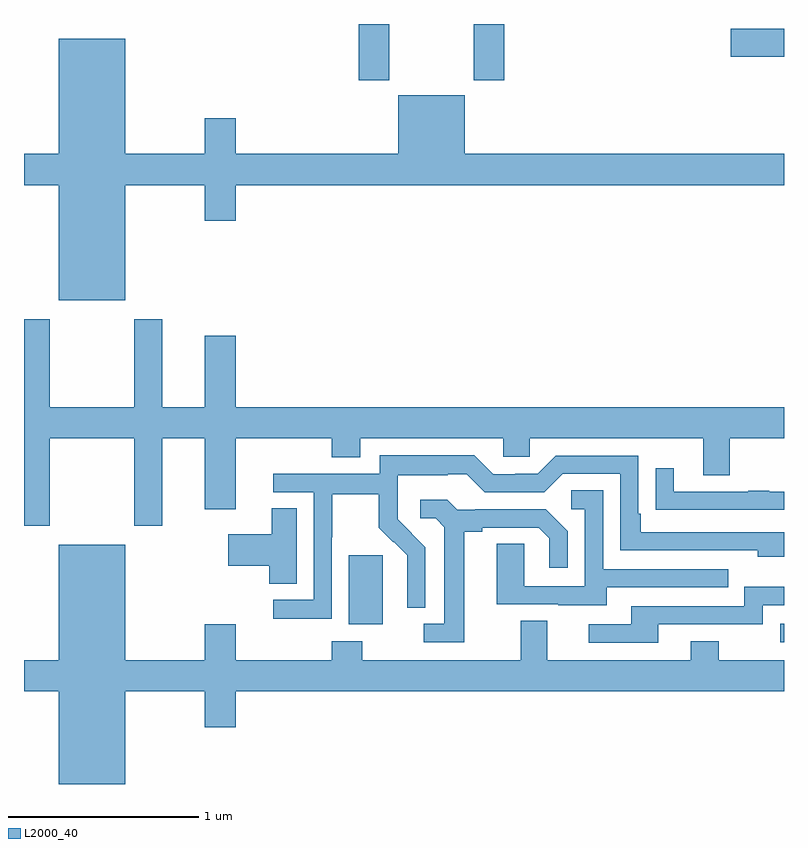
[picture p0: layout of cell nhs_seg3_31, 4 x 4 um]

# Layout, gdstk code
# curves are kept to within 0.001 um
import gdstk
lib = gdstk.Library(unit=1e-6, precision=1e-09)
def R(c, l, rs):  # rectangles x0, y0, x1, y1
    for r in rs: c.add(gdstk.rectangle(r[:2], r[2:], *l))
def P(c, l, *ps):  # polygons
    for p in ps: c.add(gdstk.Polygon(p, *l))
L2000_40 = (2000, 40)

nhs_seg3_31 = lib.new_cell('nhs_seg3_31')
R(nhs_seg3_31, L2000_40, [(114.981,729.147,115,729.243), (112.709,729.242,112.888,729.603), (112.763,732.105,112.923,732.4), (113.368,732.105,113.528,732.4), (114.72,732.227,115,732.374)])
P(nhs_seg3_31, L2000_40, [(111.532,731.552),(111.95,731.552),(111.95,731.364),(112.114,731.364),(112.114,731.552),(115,731.552),(115,731.716),(113.32,731.716),(113.32,732.025),(112.97,732.025),(112.97,731.716),(112.114,731.716),(112.114,731.905),(111.95,731.905),(111.95,731.716),(111.532,731.716),(111.532,732.322),(111.182,732.322),(111.182,731.716),(111,731.716),(111,731.552),(111.182,731.552),(111.182,730.946),(111.532,730.946)],
  [(111.135,730.22),(111.58,730.22),(111.58,729.759),(111.727,729.759),(111.727,730.22),(111.95,730.22),(111.95,729.846),(112.114,729.846),(112.114,730.22),(112.619,730.22),(112.619,730.121),(112.771,730.121),(112.771,730.22),(113.523,730.22),(113.523,730.122),(113.661,730.122),(113.661,730.22),(114.575,730.22),(114.575,730.026),(114.715,730.026),(114.715,730.22),(115,730.22),(115,730.384),(112.114,730.384),(112.114,730.759),(111.95,730.759),(111.95,730.384),(111.727,730.384),(111.727,730.846),(111.58,730.846),(111.58,730.384),(111.135,730.384),(111.135,730.846),(111,730.846),(111,729.759),(111.135,729.759)],
  [(112.62,729.7),(112.623,729.7),(112.623,729.924),(112.867,729.924),(112.867,729.749),(112.944,729.672),(112.947,729.675),(113.018,729.605),(113.018,729.482),(113.016,729.482),(113.016,729.328),(113.112,729.328),(113.112,729.646),(112.966,729.794),(112.966,729.891),(112.968,729.891),(112.968,730.025),(113.231,730.025),(113.231,730.029),(113.331,730.029),(113.424,729.936),(113.739,729.936),(113.835,730.032),(114.138,730.032),(114.138,729.63),(114.863,729.63),(114.863,729.596),(115,729.596),(115,729.726),(114.247,729.726),(114.247,729.823),(114.234,729.823),(114.234,730.128),(113.799,730.128),(113.703,730.032),(113.585,730.032),(113.585,730.029),(113.469,730.029),(113.369,730.129),(112.872,730.129),(112.872,730.032),(112.311,730.032),(112.311,729.936),(112.524,729.936),(112.524,729.369),(112.311,729.369),(112.311,729.271),(112.62,729.271)],
  [(115,729.939),(114.923,729.939),(114.923,729.944),(114.811,729.944),(114.811,729.939),(114.421,729.939),(114.421,730.063),(114.325,730.063),(114.325,729.844),(114.427,729.844),(114.427,729.843),(115,729.843)],
  [(114.067,729.435),(114.707,729.435),(114.707,729.531),(114.048,729.531),(114.048,729.947),(113.88,729.947),(113.88,729.846),(113.952,729.846),(113.952,729.441),(113.634,729.441),(113.634,729.665),(113.489,729.665),(113.489,729.345),(113.813,729.345),(113.813,729.341),(114.067,729.341)],
  [(113.317,729.728),(113.413,729.728),(113.413,729.75),(113.708,729.75),(113.765,729.693),(113.765,729.537),(113.862,729.537),(113.862,729.73),(113.746,729.846),(113.374,729.846),(113.374,729.843),(113.28,729.843),(113.228,729.895),(113.085,729.895),(113.085,729.798),(113.166,729.798),(113.213,729.751),(113.213,729.243),(113.103,729.243),(113.103,729.147),(113.317,729.147)],
  [(112.435,729.851),(112.304,729.851),(112.304,729.715),(112.074,729.715),(112.074,729.55),(112.292,729.55),(112.292,729.454),(112.435,729.454)],
  [(111.532,728.888),(111.95,728.888),(111.95,728.7),(112.114,728.7),(112.114,728.888),(115,728.888),(115,729.052),(114.657,729.052),(114.657,729.151),(114.509,729.151),(114.509,729.052),(113.755,729.052),(113.755,729.26),(113.615,729.26),(113.615,729.052),(112.779,729.052),(112.779,729.151),(112.619,729.151),(112.619,729.052),(112.114,729.052),(112.114,729.241),(111.95,729.241),(111.95,729.052),(111.532,729.052),(111.532,729.658),(111.182,729.658),(111.182,729.052),(111,729.052),(111,728.888),(111.182,728.888),(111.182,728.4),(111.532,728.4)],
  [(114.337,729.24),(114.888,729.24),(114.888,729.342),(115,729.342),(115,729.439),(114.792,729.439),(114.792,729.336),(114.197,729.336),(114.197,729.24),(113.973,729.24),(113.973,729.144),(114.337,729.144)])

lib.write_gds('nhs_seg3_31.gds')
